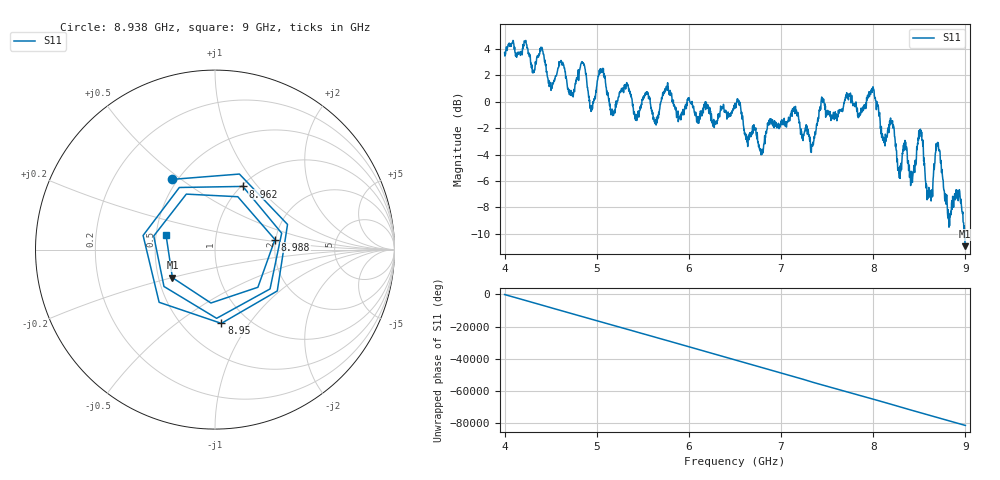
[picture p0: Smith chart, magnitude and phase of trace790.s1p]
! Created with skrf 1.8.0 (http://scikit-rf.org).
# Hz S RI R 50.0
!freq ReS11 ImS11
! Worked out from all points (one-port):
!   1601 points, 4 GHz to 9 GHz, reference 50 ohm
!   lowest |S11| = -10.9 dB at 8.997 GHz (marker M1), VSWR 1.79, Z = 29.6 - j10 ohm
!   |S11| at or under -10 dB: 8.991275 GHz to end of sweep
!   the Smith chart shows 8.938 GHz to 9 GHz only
!   S11 on the Smith chart (normalised r, x): 8.938 GHz: 0.47, +0.46; 8.95 GHz: 0.75, -0.75; 8.962 GHz: 1.02, +0.84; 8.988 GHz: 1.98, +0.25; 9 GHz: 0.57, +0.10
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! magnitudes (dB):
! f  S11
! 4 GHz  3.7
! 4.625 GHz  2.8
! 4.725 GHz  0.6
! 4.85 GHz  2.9
! 4.944 GHz  -0.7
! 5.047 GHz  2.5
! 5.172 GHz  -1.0
! 5.25 GHz  0.7
! 5.875 GHz  -0.9
! 6.5 GHz  -0.1
! 6.781 GHz  -3.8
! 7.125 GHz  -0.5
! 7.338 GHz  -3.3
! 7.444 GHz  0.0
! 7.75 GHz  0.6
! 7.991 GHz  1.0
! 8.281 GHz  -5.5
! 8.375 GHz  -4.6
! 8.516 GHz  -2.3
! 8.616 GHz  -6.7
! 8.7 GHz  -3.1
! 8.822 GHz  -9.5
! 8.938 GHz  -6.8
! 8.95 GHz  -7.7
! 8.962 GHz  -8.3
! 8.988 GHz  -9.4
! 8.997 GHz  -10.9
! 9 GHz  -10.9
